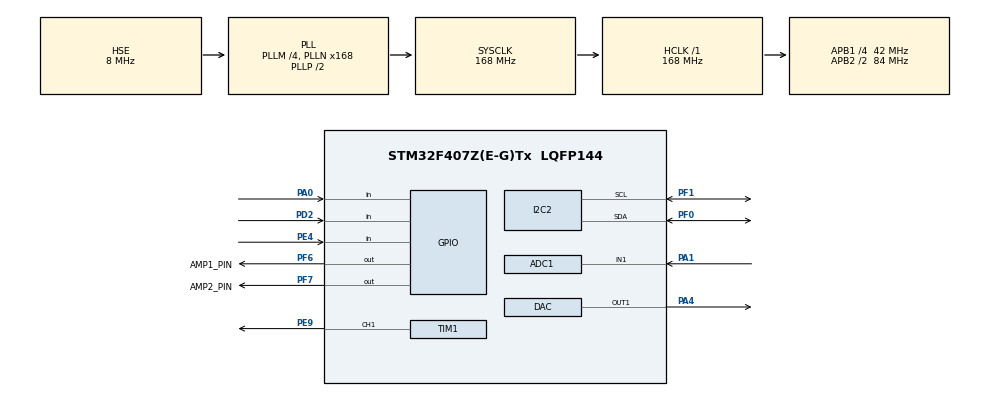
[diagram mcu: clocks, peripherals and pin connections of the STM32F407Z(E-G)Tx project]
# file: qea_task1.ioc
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ADC1.Channel-0\#ChannelRegularConversion=ADC_CHANNEL_1
ADC1.DMAContinuousRequests=ENABLE
ADC1.ExternalTrigConv=ADC_EXTERNALTRIGCONV_T3_TRGO
ADC1.NbrOfConversionFlag=1
ADC1.Rank-0\#ChannelRegularConversion=1
ADC1.Resolution=ADC_RESOLUTION_12B
ADC1.SamplingTime-0\#ChannelRegularConversion=ADC_SAMPLETIME_84CYCLES
ADC1.ScanConvMode=ENABLE
ADC1.master=1
DAC.DAC_Trigger=DAC_TRIGGER_T8_TRGO
Dma.ADC1.0.Direction=DMA_PERIPH_TO_MEMORY
Dma.ADC1.0.FIFOMode=DMA_FIFOMODE_DISABLE
Dma.ADC1.0.Instance=DMA2_Stream0
Dma.ADC1.0.MemDataAlignment=DMA_MDATAALIGN_HALFWORD
Dma.ADC1.0.MemInc=DMA_MINC_ENABLE
Dma.ADC1.0.Mode=DMA_CIRCULAR
Dma.ADC1.0.PeriphDataAlignment=DMA_PDATAALIGN_HALFWORD
Dma.ADC1.0.PeriphInc=DMA_PINC_DISABLE
Dma.ADC1.0.Priority=DMA_PRIORITY_LOW
Dma.DAC1.1.Direction=DMA_MEMORY_TO_PERIPH
Dma.DAC1.1.FIFOMode=DMA_FIFOMODE_DISABLE
Dma.DAC1.1.Instance=DMA1_Stream5
Dma.DAC1.1.MemDataAlignment=DMA_MDATAALIGN_HALFWORD
Dma.DAC1.1.MemInc=DMA_MINC_ENABLE
Dma.DAC1.1.Mode=DMA_CIRCULAR
Dma.DAC1.1.PeriphDataAlignment=DMA_PDATAALIGN_HALFWORD
Dma.DAC1.1.PeriphInc=DMA_PINC_DISABLE
Dma.DAC1.1.Priority=DMA_PRIORITY_LOW
Dma.Request0=ADC1
Dma.Request1=DAC1
Mcu.Family=STM32F4
Mcu.Name=STM32F407Z(E-G)Tx
Mcu.Package=LQFP144
NVIC.DMA1_Stream5_IRQn=true\:0\:0\:false\:false\:true\:false\:true\:true
NVIC.DMA2_Stream0_IRQn=true\:0\:0\:false\:false\:true\:false\:true\:true
NVIC.PriorityGroup=NVIC_PRIORITYGROUP_4
NVIC.TIM6_DAC_IRQn=true\:1\:0\:true\:false\:true\:true\:true\:true
PA0-WKUP.GPIO_PuPd=GPIO_PULLDOWN
PA0-WKUP.Signal=GPIO_Input
PA1.Signal=ADCx_IN1
PA13.Mode=Serial_Wire
PA13.Signal=SYS_JTMS-SWDIO
PA14.Mode=Serial_Wire
PA14.Signal=SYS_JTCK-SWCLK
PA4.Signal=COMP_DAC1_group
PD2.GPIO_PuPd=GPIO_PULLUP
PD2.Signal=GPIO_Input
PE4.GPIO_PuPd=GPIO_PULLDOWN
PE4.Signal=GPIO_Input
PE9.Signal=S_TIM1_CH1
PF0.Mode=I2C
PF0.Signal=I2C2_SDA
PF1.Mode=I2C
PF1.Signal=I2C2_SCL
PF6.GPIO_Label=AMP1_PIN
PF6.Signal=GPIO_Output
PF7.GPIO_Label=AMP2_PIN
PF7.Signal=GPIO_Output
PH0-OSC_IN.Mode=HSE-External-Oscillator
PH0-OSC_IN.Signal=RCC_OSC_IN
PH1-OSC_OUT.Mode=HSE-External-Oscillator
PH1-OSC_OUT.Signal=RCC_OSC_OUT
ProjectManager.HeapSize=0x200
ProjectManager.StackSize=0x400
ProjectManager.TargetToolchain=MDK-ARM V5.32
RCC.48MHZClocksFreq_Value=84000000
RCC.AHBFreq_Value=168000000
RCC.APB1CLKDivider=RCC_HCLK_DIV4
RCC.APB1Freq_Value=42000000
RCC.APB1TimFreq_Value=84000000
RCC.APB2CLKDivider=RCC_HCLK_DIV2
RCC.APB2Freq_Value=84000000
RCC.APB2TimFreq_Value=168000000
RCC.CortexFreq_Value=168000000
RCC.HCLKFreq_Value=168000000
RCC.HSE_VALUE=8000000
RCC.HSI_VALUE=16000000
RCC.LSE_VALUE=32768
RCC.PLLM=4
RCC.PLLN=168
RCC.PLLSourceVirtual=RCC_PLLSOURCE_HSE
RCC.SYSCLKFreq_VALUE=168000000
RCC.SYSCLKSource=RCC_SYSCLKSOURCE_PLLCLK
RCC.VCOOutputFreq_Value=336000000
SH.ADCx_IN1.0=ADC1_IN1,IN1
SH.COMP_DAC1_group.0=DAC_OUT1,DAC_OUT1
SH.S_TIM1_CH1.0=TIM1_CH1,PWM Generation1 CH1
STMicroelectronics.X-CUBE-ALGOBUILD.1.4.0.LibraryCcDSPOoLibraryJjDSPOoLibrary=true
TIM1.AutoReloadPreload=TIM_AUTORELOAD_PRELOAD_ENABLE
TIM1.Channel-PWM\ Generation1\ CH1=TIM_CHANNEL_1
TIM1.Period=1000-1
TIM1.Prescaler=168-1
TIM1.Pulse-PWM\ Generation1\ CH1=500
TIM3.Period=4-1
TIM3.Prescaler=84-1
TIM3.TIM_MasterOutputTrigger=TIM_TRGO_UPDATE
TIM8.AutoReloadPreload=TIM_AUTORELOAD_PRELOAD_ENABLE
TIM8.Period=168-1
TIM8.TIM_MasterOutputTrigger=TIM_TRGO_UPDATE
VP_STMicroelectronics.X-CUBE-ALGOBUILD_VS_DSPOoLibraryJjLibrary_1.4.0_1.4.0.Mode=DSPOoLibraryJjLibrary
VP_TIM1_VS_ClockSourceINT.Mode=Internal
VP_TIM3_VS_ClockSourceINT.Mode=Internal
VP_TIM8_VS_ClockSourceINT.Mode=Internal
board=custom

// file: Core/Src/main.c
/* USER CODE BEGIN Header */
/**
  ******************************************************************************
  * @file           : main.c
  * @brief          : Main program body
  ******************************************************************************
  * @attention
  *
  * Copyright (c) 2025 STMicroelectronics.
  * All rights reserved.
  *
  * This software is licensed under terms that can be found in the LICENSE file
  * in the root directory of this software component.
  * If no LICENSE file comes with this software, it is provided AS-IS.
  *
  ******************************************************************************
  */
/* USER CODE END Header */
#include "main.h"
#include "adc.h"
#include "dac.h"
#include "dma.h"
#include "i2c.h"
#include "tim.h"
#include "gpio.h"

/* USER CODE BEGIN Includes */
#include "arm_math.h"

#include "fft.h"
/* USER CODE END Includes */

/* USER CODE BEGIN PTD */
extern ADC_HandleTypeDef hadc1;
extern DMA_HandleTypeDef hdma_adc1;
extern uint16_t ADC_1_Value_DMA[FFT_LENGTH];//ADC采样数组

volatile uint8_t task1_done = 0;  // 任务 1 状态标志
void Restart_ADC_DMA(void) {
    if (task1_done) {
        // 重新开启 DMA 采集
        __HAL_DMA_ENABLE_IT(&hdma_adc1, DMA_IT_TC);
        HAL_ADC_Start_DMA(&hadc1, (uint32_t*)ADC_1_Value_DMA, FFT_LENGTH);
    }
}

void Task1_Start(void) {
    // 模拟任务 1 运行，比如进行数据处理

    HAL_Delay(500);  // 这里换成实际的任务逻辑

    // 任务 1 结束
    task1_done = 1;

    // 重新开启 DMA 采集
    Restart_ADC_DMA();
}

/* USER CODE END PTD */

void SystemClock_Config(void);

int main(void)
{

  /* MCU Configuration--------------------------------------------------------*/

  /* Reset of all peripherals, Initializes the Flash interface and the Systick. */
  HAL_Init();

  /* Configure the system clock */
  SystemClock_Config();

  /* Initialize all configured peripherals */
  MX_GPIO_Init();
  MX_DMA_Init();
  MX_ADC1_Init();
  MX_I2C2_Init();
  MX_TIM1_Init();
  MX_TIM3_Init();
  MX_DAC_Init();
  MX_TIM8_Init();
  /* USER CODE BEGIN 2 */

  HAL_TIM_PWM_Start(&htim1,TIM_CHANNEL_1);//自己产生方波
  /* USER CODE END 2 */

  /* Infinite loop */
  while (1)
  {

  }
}

void SystemClock_Config(void)
{
  RCC_OscInitTypeDef RCC_OscInitStruct = {0};
  RCC_ClkInitTypeDef RCC_ClkInitStruct = {0};

  /** Configure the main internal regulator output voltage
  */
  __HAL_RCC_PWR_CLK_ENABLE();
  __HAL_PWR_VOLTAGESCALING_CONFIG(PWR_REGULATOR_VOLTAGE_SCALE1);

  /** Initializes the RCC Oscillators according to the specified parameters
  * in the RCC_OscInitTypeDef structure.
  */
  RCC_OscInitStruct.OscillatorType = RCC_OSCILLATORTYPE_HSE;
  RCC_OscInitStruct.HSEState = RCC_HSE_ON;
  RCC_OscInitStruct.PLL.PLLState = RCC_PLL_ON;
  RCC_OscInitStruct.PLL.PLLSource = RCC_PLLSOURCE_HSE;
  RCC_OscInitStruct.PLL.PLLM = 4;
  RCC_OscInitStruct.PLL.PLLN = 168;
  RCC_OscInitStruct.PLL.PLLP = RCC_PLLP_DIV2;
  RCC_OscInitStruct.PLL.PLLQ = 4;
  if (HAL_RCC_OscConfig(&RCC_OscInitStruct) != HAL_OK)
  {
    Error_Handler();
  }

  /** Initializes the CPU, AHB and APB buses clocks
  */
  RCC_ClkInitStruct.ClockType = RCC_CLOCKTYPE_HCLK|RCC_CLOCKTYPE_SYSCLK
                              |RCC_CLOCKTYPE_PCLK1|RCC_CLOCKTYPE_PCLK2;
  RCC_ClkInitStruct.SYSCLKSource = RCC_SYSCLKSOURCE_PLLCLK;
  RCC_ClkInitStruct.AHBCLKDivider = RCC_SYSCLK_DIV1;
  RCC_ClkInitStruct.APB1CLKDivider = RCC_HCLK_DIV4;
  RCC_ClkInitStruct.APB2CLKDivider = RCC_HCLK_DIV2;

  if (HAL_RCC_ClockConfig(&RCC_ClkInitStruct, FLASH_LATENCY_5) != HAL_OK)
  {
    Error_Handler();
  }
}

/* USER CODE BEGIN 4 */

void HAL_ADC_ConvCpltCallback(ADC_HandleTypeDef *hadc) {
    if (hadc->Instance == ADC1) {
        // 1. 关闭 DMA 传输完成中断
        __HAL_DMA_DISABLE_IT(&hdma_adc1, DMA_IT_TC);

        // 2. 启动任务 1
        task1_done = 0;
        Task1_Start();
    }
}

/* USER CODE END 4 */

void Error_Handler(void)
{
  __disable_irq();
  while (1)
  {
  }
}
